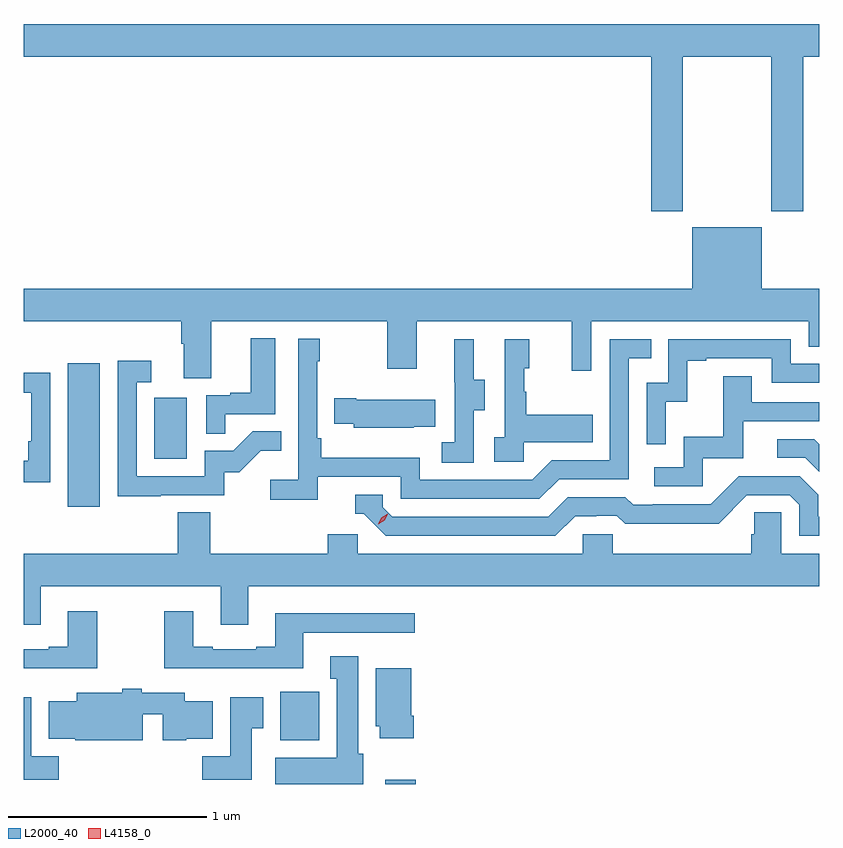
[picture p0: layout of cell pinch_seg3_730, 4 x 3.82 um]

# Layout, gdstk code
import gdstk
lib = gdstk.Library(unit=1e-6, precision=1e-09)
def R(c, l, rs):  # rectangles x0, y0, x1, y1
    for r in rs: c.add(gdstk.rectangle(r[:2], r[2:], *l))
def P(c, l, *ps):  # polygons
    for p in ps: c.add(gdstk.Polygon(p, *l))
L2000_40 = (2000, 40)
L4158_0 = (4158, 0)

pinch_seg3_730 = lib.new_cell('pinch_seg3_730')
R(pinch_seg3_730, L2000_40, [(869.333,729.225,869.486,729.247), (868.805,729.446,869.002,729.688), (867.737,730.62,867.898,731.341), (868.172,730.86,868.336,731.167)])
P(pinch_seg3_730, L2000_40, [(870.831,732.884),(871.276,732.884),(871.276,732.105),(871.436,732.105),(871.436,732.884),(871.516,732.884),(871.516,733.048),(867.516,733.048),(867.516,732.884),(870.671,732.884),(870.671,732.105),(870.831,732.105)],
  [(868.459,731.552),(869.344,731.552),(869.344,731.313),(869.491,731.313),(869.491,731.552),(870.272,731.552),(870.272,731.304),(870.369,731.304),(870.369,731.552),(871.464,731.552),(871.464,731.425),(871.516,731.425),(871.516,731.716),(871.228,731.716),(871.228,732.025),(870.878,732.025),(870.878,731.716),(867.516,731.716),(867.516,731.552),(868.307,731.552),(868.307,731.44),(868.319,731.44),(868.319,731.266),(868.459,731.266)],
  [(868.529,731.085),(868.78,731.085),(868.78,731.467),(868.658,731.467),(868.658,731.194),(868.555,731.194),(868.555,731.181),(868.434,731.181),(868.434,730.987),(868.529,730.987)],
  [(868.994,730.77),(869.412,730.77),(869.412,730.659),(870.109,730.659),(870.208,730.758),(870.558,730.758),(870.558,731.367),(870.671,731.367),(870.671,731.463),(870.462,731.463),(870.462,730.854),(870.171,730.854),(870.072,730.755),(869.508,730.755),(869.508,730.867),(869.012,730.867),(869.012,730.963),(868.992,730.963),(868.992,731.351),(869.005,731.351),(869.005,731.464),(868.896,731.464),(868.896,730.756),(868.755,730.756),(868.755,730.654),(868.994,730.654)],
  [(870.744,731.147),(870.854,731.147),(870.854,731.355),(870.949,731.355),(870.949,731.367),(871.278,731.367),(871.278,731.244),(871.516,731.244),(871.516,731.34),(871.374,731.34),(871.374,731.463),(870.756,731.463),(870.756,731.244),(870.648,731.244),(870.648,730.935),(870.744,730.935)],
  [(869.778,731.104),(869.833,731.104),(869.833,731.259),(869.779,731.259),(869.779,731.461),(869.681,731.461),(869.681,731.247),(869.682,731.247),(869.682,730.943),(869.619,730.943),(869.619,730.84),(869.778,730.84)],
  [(870.03,730.943),(870.377,730.943),(870.377,731.083),(870.043,731.083),(870.043,731.198),(870.033,731.198),(870.033,731.316),(870.058,731.316),(870.058,731.461),(869.934,731.461),(869.934,730.97),(869.883,730.97),(869.883,730.845),(870.03,730.845)],
  [(868.205,730.677),(868.524,730.677),(868.524,730.794),(868.6,730.794),(868.707,730.901),(868.811,730.901),(868.811,731),(868.668,731),(868.57,730.902),(868.425,730.902),(868.425,730.773),(868.083,730.773),(868.083,731.247),(868.156,731.247),(868.156,731.353),(867.987,731.353),(867.987,730.672),(868.205,730.672)],
  [(867.648,731.294),(867.516,731.294),(867.516,731.193),(867.552,731.193),(867.552,730.948),(867.539,730.948),(867.539,730.852),(867.516,730.852),(867.516,730.743),(867.648,730.743)],
  [(870.93,730.863),(871.135,730.863),(871.135,731.049),(871.516,731.049),(871.516,731.145),(871.177,731.145),(871.177,731.275),(871.033,731.275),(871.033,730.972),(870.834,730.972),(870.834,730.818),(870.687,730.818),(870.687,730.722),(870.93,730.722)],
  [(869.477,731.021),(869.585,731.021),(869.585,731.158),(869.188,731.158),(869.188,731.166),(869.077,731.166),(869.077,731.036),(869.175,731.036),(869.175,731.018),(869.477,731.018)],
  [(871.516,730.935),(871.492,730.959),(871.305,730.959),(871.305,730.866),(871.446,730.866),(871.516,730.796)],
  [(870.289,730.572),(870.396,730.572),(870.396,730.575),(870.499,730.575),(870.541,730.533),(870.774,730.533),(870.774,730.535),(871.01,730.535),(871.152,730.677),(871.368,730.677),(871.416,730.629),(871.416,730.473),(871.516,730.473),(871.516,730.569),(871.513,730.569),(871.513,730.679),(871.419,730.773),(871.113,730.773),(870.972,730.632),(870.679,730.632),(870.679,730.629),(870.58,730.629),(870.541,730.668),(870.252,730.668),(870.153,730.569),(869.37,730.569),(869.322,730.617),(869.322,730.68),(869.183,730.68),(869.183,730.584),(869.226,730.584),(869.337,730.473),(870.19,730.473)],
  [(867.601,730.22),(868.505,730.22),(868.505,730.026),(868.645,730.026),(868.645,730.22),(871.516,730.22),(871.516,730.384),(871.326,730.384),(871.326,730.592),(871.189,730.592),(871.189,730.482),(871.175,730.482),(871.175,730.384),(870.477,730.384),(870.477,730.482),(870.327,730.482),(870.327,730.384),(869.196,730.384),(869.196,730.482),(869.045,730.482),(869.045,730.384),(868.454,730.384),(868.454,730.592),(868.289,730.592),(868.289,730.384),(867.516,730.384),(867.516,730.026),(867.601,730.026)],
  [(868.921,729.987),(869.482,729.987),(869.482,730.084),(868.781,730.084),(868.781,729.916),(868.685,729.916),(868.685,729.903),(868.465,729.903),(868.465,729.916),(868.369,729.916),(868.369,730.093),(868.222,730.093),(868.222,729.806),(868.921,729.806)],
  [(867.885,730.093),(867.737,730.093),(867.737,729.916),(867.641,729.916),(867.641,729.903),(867.516,729.903),(867.516,729.806),(867.885,729.806)],
  [(869.224,729.378),(869.197,729.378),(869.197,729.868),(869.057,729.868),(869.057,729.755),(869.09,729.755),(869.09,729.358),(868.781,729.358),(868.781,729.225),(869.224,729.225)],
  [(869.477,729.568),(869.464,729.568),(869.464,729.808),(869.285,729.808),(869.285,729.516),(869.306,729.516),(869.306,729.456),(869.477,729.456)],
  [(868.114,729.576),(868.214,729.576),(868.214,729.446),(868.332,729.446),(868.332,729.452),(868.465,729.452),(868.465,729.64),(868.324,729.64),(868.324,729.684),(868.11,729.684),(868.11,729.704),(868.01,729.704),(868.01,729.685),(867.782,729.685),(867.782,729.64),(867.641,729.64),(867.641,729.452),(867.774,729.452),(867.774,729.446),(868.114,729.446)],
  [(867.692,729.364),(867.553,729.364),(867.553,729.661),(867.516,729.661),(867.516,729.246),(867.692,729.246)],
  [(868.663,729.505),(868.72,729.505),(868.72,729.661),(868.553,729.661),(868.553,729.364),(868.414,729.364),(868.414,729.246),(868.663,729.246)])
P(pinch_seg3_730, L4158_0, [(869.299,730.531),(869.299,730.531),(869.314,730.564),(869.345,730.584),(869.345,730.584),(869.345,730.584),(869.33,730.551),(869.299,730.531)])

lib.write_gds('pinch_seg3_730.gds')
